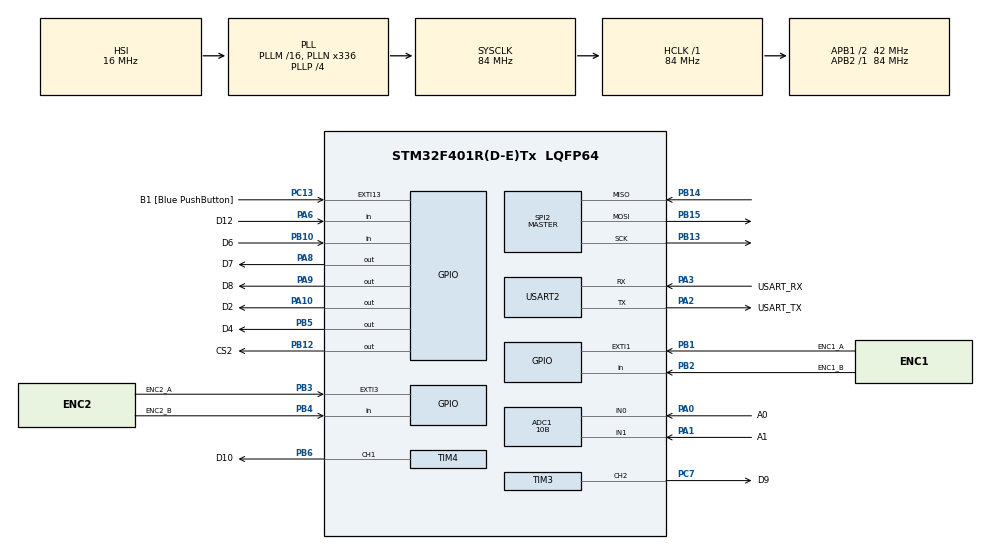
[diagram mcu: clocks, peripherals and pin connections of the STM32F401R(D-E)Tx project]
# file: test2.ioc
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Mcu.Family=STM32F4
PA2.GPIO_PuPd=GPIO_NOPULL
RCC.CortexFreq_Value=84000000
PB10.GPIO_PuPd=GPIO_PULLUP
SPI2.VirtualType=VM_MASTER
PA14.GPIO_Label=TCK
PA3.GPIO_PuPd=GPIO_NOPULL
PA2.GPIO_Speed=GPIO_SPEED_FREQ_LOW
NVIC.EXTI3_IRQn=true\:0\:0\:false\:false\:true\:true\:true
PA6.GPIO_Label=D12
PB6.GPIO_Label=D10
PB3.GPIO_ModeDefaultEXTI=GPIO_MODE_IT_RISING
PA3.GPIO_Speed=GPIO_SPEED_FREQ_LOW
PB13.Signal=SPI2_SCK
PB15.Signal=SPI2_MOSI
RCC.SYSCLKSource=RCC_SYSCLKSOURCE_PLLCLK
ProjectManager.StackSize=0x400
NVIC.EXTI1_IRQn=true\:0\:0\:false\:false\:true\:true\:true
PH0\ -\ OSC_IN.Signal=RCC_OSC_IN
RCC.HCLKFreq_Value=84000000
ADC1.Resolution=ADC_RESOLUTION_10B
RCC.APB2TimFreq_Value=84000000
TIM3.Period=4000
PB6.Signal=S_TIM4_CH1
PC7.Signal=S_TIM3_CH2
RCC.AHBFreq_Value=84000000
SPI2.BaudRatePrescaler=SPI_BAUDRATEPRESCALER_16
ADC1.Channel-0\#ChannelRegularConversion=ADC_CHANNEL_0
RCC.HSE_VALUE=8000000
PB2.Signal=GPIO_Input
PC13-ANTI_TAMP.Signal=GPXTI13
PB12.GPIO_Label=CS2
PA6.GPIO_PuPd=GPIO_PULLUP
PC14-OSC32_IN.Mode=LSE-External-Oscillator
PA14.Mode=Serial_Wire
PB14.Mode=Full_Duplex_Master
PB1.GPIO_Label=ENC1_A
PA10.GPIO_Label=D2
PA8.Signal=GPIO_Output
SH.ADCx_IN0.0=ADC1_IN0,IN0
TIM4.Period=4000
ADC1.SamplingTime-0\#ChannelRegularConversion=ADC_SAMPLETIME_3CYCLES
Mcu.Package=LQFP64
PB1.Signal=GPXTI1
PA6.Signal=GPIO_Input
SPI2.Mode=SPI_MODE_MASTER
USART2.VirtualMode=VM_ASYNC
PA2.GPIO_Label=USART_TX
PA10.Signal=GPIO_Output
SH.ADCx_IN1.0=ADC1_IN1,IN1
PB5.GPIO_Label=D4
SH.S_TIM4_CH1.0=TIM4_CH1,PWM Generation1 CH1
RCC.APB1TimFreq_Value=84000000
SPI2.Direction=SPI_DIRECTION_2LINES
PB13.Mode=Full_Duplex_Master
PB4.Signal=GPIO_Input
PA3.Signal=USART2_RX
PA2.GPIO_Mode=GPIO_MODE_AF_PP
PB3.GPIO_Label=ENC2_A
TIM4.Channel-PWM\ Generation1\ CH1=TIM_CHANNEL_1
PC15-OSC32_OUT.Mode=LSE-External-Oscillator
ADC1.Rank-0\#ChannelRegularConversion=1
PC13-ANTI_TAMP.GPIO_PuPd=GPIO_NOPULL
PC13-ANTI_TAMP.GPIO_Label=B1 [Blue PushButton]
PA9.GPIO_Label=D8
PH1\ -\ OSC_OUT.Mode=HSE-External-Clock-Source
RCC.APB1CLKDivider=RCC_HCLK_DIV2
PC14-OSC32_IN.Signal=RCC_OSC32_IN
NVIC.USART2_IRQn=true\:0\:0\:false\:false\:true\:true\:true
PA0-WKUP.GPIO_Label=A0
PA0-WKUP.Signal=ADCx_IN0
PA3.Mode=Asynchronous
PA13.Signal=SYS_JTMS-SWDIO
PH0\ -\ OSC_IN.Mode=HSE-External-Clock-Source
PA8.GPIO_Label=D7
ProjectManager.TargetToolchain=STM32CubeIDE
PB10.GPIO_Label=D6
PA3.GPIO_Mode=GPIO_MODE_AF_PP
PA9.Signal=GPIO_Output
PC15-OSC32_OUT.Signal=RCC_OSC32_OUT
PA1.Signal=ADCx_IN1
PB10.Signal=GPIO_Input
PB14.Signal=SPI2_MISO
PA5.Signal=SPI1_SCK
SH.S_TIM3_CH2.0=TIM3_CH2,PWM Generation2 CH2
PH1\ -\ OSC_OUT.Signal=RCC_OSC_OUT
board=NUCLEO-F401RE
PC7.GPIO_Speed=GPIO_SPEED_FREQ_VERY_HIGH
RCC.VCOOutputFreq_Value=336000000
PB15.Mode=Full_Duplex_Master
RCC.APB2Freq_Value=84000000
PB4.GPIO_Label=ENC2_B
PA1.GPIO_Label=A1
ADC1.NbrOfConversion=1
PA13.Mode=Serial_Wire
Mcu.Name=STM32F401R(D-E)Tx
PA2.Signal=USART2_TX
PA13.GPIO_Label=TMS
PC7.GPIO_Label=D9
RCC.48MHZClocksFreq_Value=48000000
PB3.Signal=GPXTI3
RCC.SYSCLKFreq_VALUE=84000000
PB5.Signal=GPIO_Output
ADC1.master=1
PC13-ANTI_TAMP.GPIO_ModeDefaultEXTI=GPIO_MODE_IT_FALLING
PA14.Signal=SYS_JTCK-SWCLK
PB2.GPIO_Label=ENC1_B
ProjectManager.HeapSize=0x200
RCC.HSI_VALUE=16000000
RCC.PLLP=RCC_PLLP_DIV4
RCC.PLLQ=7
NVIC.PriorityGroup=NVIC_PRIORITYGROUP_0
ADC1.NbrOfConversionFlag=1
TIM3.Channel-PWM\ Generation2\ CH2=TIM_CHANNEL_2
RCC.PLLN=336
PA2.Mode=Asynchronous
RCC.APB1Freq_Value=42000000
ADC1.ClockPrescaler=ADC_CLOCK_SYNC_PCLK_DIV6
PB12.Signal=GPIO_Output
PA3.GPIO_Label=USART_RX

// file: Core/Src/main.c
/* USER CODE BEGIN Header */
/**
 ******************************************************************************
 * @file           : main.c
 * @brief          : Main program body
 ******************************************************************************
 * @attention
 *
 * <h2><center>&copy; Copyright (c) 2021 STMicroelectronics.
 * All rights reserved.</center></h2>
 *
 * This software component is licensed by ST under BSD 3-Clause license,
 * the "License"; You may not use this file except in compliance with the
 * License. You may obtain a copy of the License at:
 *                        opensource.org/licenses/BSD-3-Clause
 *
 ******************************************************************************
 */
/* USER CODE END Header */
#include "main.h"

/* USER CODE BEGIN Includes */
#include "project.h"
/* USER CODE END Includes */

ADC_HandleTypeDef hadc1;

SPI_HandleTypeDef hspi2;

TIM_HandleTypeDef htim3;
TIM_HandleTypeDef htim4;

UART_HandleTypeDef huart2;

/* USER CODE BEGIN PV */
#ifdef __GNUC__
/* With GCC/RAISONANCE, small printf (option LD Linker->Libraries->Small printf
     set to 'Yes') calls __io_putchar() */
#define PUTCHAR_PROTOTYPE int __io_putchar(int ch)
#else
#define PUTCHAR_PROTOTYPE int fputc(int ch, FILE *f)
#endif /* __GNUC__ */
/**
 * @brief  Retargets the C library printf function to the USART.
 * @param  None
 * @retval None
 */
PUTCHAR_PROTOTYPE
{
	/* Place your implementation of fputc here */
	/* e.g. write a character to the EVAL_COM1 and Loop until the end of transmission */
	HAL_UART_Transmit(&huart2, (uint8_t *)&ch, 1, 0xFFFF);

	return ch;
}
/* USER CODE END PV */

void SystemClock_Config(void);
static void MX_GPIO_Init(void);
static void MX_USART2_UART_Init(void);
static void MX_SPI2_Init(void);
static void MX_ADC1_Init(void);
static void MX_TIM3_Init(void);
static void MX_TIM4_Init(void);
/* USER CODE BEGIN PFP */
#include "project.h"//this file contains user code
/* USER CODE END PFP */

int main(void)
{

  /* MCU Configuration--------------------------------------------------------*/

  /* Reset of all peripherals, Initializes the Flash interface and the Systick. */
  HAL_Init();

  /* Configure the system clock */
  SystemClock_Config();

  /* Initialize all configured peripherals */
  MX_GPIO_Init();
  MX_USART2_UART_Init();
  MX_SPI2_Init();
  MX_ADC1_Init();
  MX_TIM3_Init();
  MX_TIM4_Init();
  /* USER CODE BEGIN 2 */
	user_init();
	HAL_UART_Receive_IT(&huart2, uart2_rcv_buff, 2);
  /* USER CODE END 2 */

  /* Infinite loop */
  /* USER CODE BEGIN WHILE */
	//HAL_GPIO_WritePin(D2_GPIO_Port, D2_Pin, GPIO_PIN_SET);
	//HAL_GPIO_WritePin(D4_GPIO_Port, D4_Pin, GPIO_PIN_RESET);

	while (1)
	{
		user_while();
/*
		for (int i = 0; i <= 4000; i++)
		{
			//motor_shield.setM1Speed(i);
			set_pwm_m1(i);
			HAL_Delay(1);
		}
*/
    /* USER CODE END WHILE */

	}
}

void SystemClock_Config(void)
{
  RCC_OscInitTypeDef RCC_OscInitStruct = {0};
  RCC_ClkInitTypeDef RCC_ClkInitStruct = {0};

  /** Configure the main internal regulator output voltage
  */
  __HAL_RCC_PWR_CLK_ENABLE();
  __HAL_PWR_VOLTAGESCALING_CONFIG(PWR_REGULATOR_VOLTAGE_SCALE2);
  /** Initializes the RCC Oscillators according to the specified parameters
  * in the RCC_OscInitTypeDef structure.
  */
  RCC_OscInitStruct.OscillatorType = RCC_OSCILLATORTYPE_HSI;
  RCC_OscInitStruct.HSIState = RCC_HSI_ON;
  RCC_OscInitStruct.HSICalibrationValue = RCC_HSICALIBRATION_DEFAULT;
  RCC_OscInitStruct.PLL.PLLState = RCC_PLL_ON;
  RCC_OscInitStruct.PLL.PLLSource = RCC_PLLSOURCE_HSI;
  RCC_OscInitStruct.PLL.PLLM = 16;
  RCC_OscInitStruct.PLL.PLLN = 336;
  RCC_OscInitStruct.PLL.PLLP = RCC_PLLP_DIV4;
  RCC_OscInitStruct.PLL.PLLQ = 7;
  if (HAL_RCC_OscConfig(&RCC_OscInitStruct) != HAL_OK)
  {
    Error_Handler();
  }
  /** Initializes the CPU, AHB and APB buses clocks
  */
  RCC_ClkInitStruct.ClockType = RCC_CLOCKTYPE_HCLK|RCC_CLOCKTYPE_SYSCLK
                              |RCC_CLOCKTYPE_PCLK1|RCC_CLOCKTYPE_PCLK2;
  RCC_ClkInitStruct.SYSCLKSource = RCC_SYSCLKSOURCE_PLLCLK;
  RCC_ClkInitStruct.AHBCLKDivider = RCC_SYSCLK_DIV1;
  RCC_ClkInitStruct.APB1CLKDivider = RCC_HCLK_DIV2;
  RCC_ClkInitStruct.APB2CLKDivider = RCC_HCLK_DIV1;

  if (HAL_RCC_ClockConfig(&RCC_ClkInitStruct, FLASH_LATENCY_2) != HAL_OK)
  {
    Error_Handler();
  }
}

static void MX_ADC1_Init(void)
{

  ADC_ChannelConfTypeDef sConfig = {0};

  /** Configure the global features of the ADC (Clock, Resolution, Data Alignment and number of conversion)
  */
  hadc1.Instance = ADC1;
  hadc1.Init.ClockPrescaler = ADC_CLOCK_SYNC_PCLK_DIV6;
  hadc1.Init.Resolution = ADC_RESOLUTION_10B;
  hadc1.Init.ScanConvMode = DISABLE;
  hadc1.Init.ContinuousConvMode = DISABLE;
  hadc1.Init.DiscontinuousConvMode = DISABLE;
  hadc1.Init.ExternalTrigConvEdge = ADC_EXTERNALTRIGCONVEDGE_NONE;
  hadc1.Init.ExternalTrigConv = ADC_SOFTWARE_START;
  hadc1.Init.DataAlign = ADC_DATAALIGN_RIGHT;
  hadc1.Init.NbrOfConversion = 1;
  hadc1.Init.DMAContinuousRequests = DISABLE;
  hadc1.Init.EOCSelection = ADC_EOC_SINGLE_CONV;
  if (HAL_ADC_Init(&hadc1) != HAL_OK)
  {
    Error_Handler();
  }
  /** Configure for the selected ADC regular channel its corresponding rank in the sequencer and its sample time.
  */
  sConfig.Channel = ADC_CHANNEL_0;
  sConfig.Rank = 1;
  sConfig.SamplingTime = ADC_SAMPLETIME_3CYCLES;
  if (HAL_ADC_ConfigChannel(&hadc1, &sConfig) != HAL_OK)
  {
    Error_Handler();
  }

}

static void MX_SPI2_Init(void)
{

  /* SPI2 parameter configuration*/
  hspi2.Instance = SPI2;
  hspi2.Init.Mode = SPI_MODE_MASTER;
  hspi2.Init.Direction = SPI_DIRECTION_2LINES;
  hspi2.Init.DataSize = SPI_DATASIZE_8BIT;
  hspi2.Init.CLKPolarity = SPI_POLARITY_LOW;
  hspi2.Init.CLKPhase = SPI_PHASE_1EDGE;
  hspi2.Init.NSS = SPI_NSS_SOFT;
  hspi2.Init.BaudRatePrescaler = SPI_BAUDRATEPRESCALER_16;
  hspi2.Init.FirstBit = SPI_FIRSTBIT_MSB;
  hspi2.Init.TIMode = SPI_TIMODE_DISABLE;
  hspi2.Init.CRCCalculation = SPI_CRCCALCULATION_DISABLE;
  hspi2.Init.CRCPolynomial = 10;
  if (HAL_SPI_Init(&hspi2) != HAL_OK)
  {
    Error_Handler();
  }

}

static void MX_TIM3_Init(void)
{

  TIM_MasterConfigTypeDef sMasterConfig = {0};
  TIM_OC_InitTypeDef sConfigOC = {0};

  htim3.Instance = TIM3;
  htim3.Init.Prescaler = 0;
  htim3.Init.CounterMode = TIM_COUNTERMODE_UP;
  htim3.Init.Period = 4000;
  htim3.Init.ClockDivision = TIM_CLOCKDIVISION_DIV1;
  htim3.Init.AutoReloadPreload = TIM_AUTORELOAD_PRELOAD_DISABLE;
  if (HAL_TIM_PWM_Init(&htim3) != HAL_OK)
  {
    Error_Handler();
  }
  sMasterConfig.MasterOutputTrigger = TIM_TRGO_RESET;
  sMasterConfig.MasterSlaveMode = TIM_MASTERSLAVEMODE_DISABLE;
  if (HAL_TIMEx_MasterConfigSynchronization(&htim3, &sMasterConfig) != HAL_OK)
  {
    Error_Handler();
  }
  sConfigOC.OCMode = TIM_OCMODE_PWM1;
  sConfigOC.Pulse = 0;
  sConfigOC.OCPolarity = TIM_OCPOLARITY_HIGH;
  sConfigOC.OCFastMode = TIM_OCFAST_DISABLE;
  if (HAL_TIM_PWM_ConfigChannel(&htim3, &sConfigOC, TIM_CHANNEL_2) != HAL_OK)
  {
    Error_Handler();
  }
  HAL_TIM_MspPostInit(&htim3);

}

static void MX_TIM4_Init(void)
{

  TIM_MasterConfigTypeDef sMasterConfig = {0};
  TIM_OC_InitTypeDef sConfigOC = {0};

  htim4.Instance = TIM4;
  htim4.Init.Prescaler = 0;
  htim4.Init.CounterMode = TIM_COUNTERMODE_UP;
  htim4.Init.Period = 4000;
  htim4.Init.ClockDivision = TIM_CLOCKDIVISION_DIV1;
  htim4.Init.AutoReloadPreload = TIM_AUTORELOAD_PRELOAD_DISABLE;
  if (HAL_TIM_PWM_Init(&htim4) != HAL_OK)
  {
    Error_Handler();
  }
  sMasterConfig.MasterOutputTrigger = TIM_TRGO_RESET;
  sMasterConfig.MasterSlaveMode = TIM_MASTERSLAVEMODE_DISABLE;
  if (HAL_TIMEx_MasterConfigSynchronization(&htim4, &sMasterConfig) != HAL_OK)
  {
    Error_Handler();
  }
  sConfigOC.OCMode = TIM_OCMODE_PWM1;
  sConfigOC.Pulse = 0;
  sConfigOC.OCPolarity = TIM_OCPOLARITY_HIGH;
  sConfigOC.OCFastMode = TIM_OCFAST_DISABLE;
  if (HAL_TIM_PWM_ConfigChannel(&htim4, &sConfigOC, TIM_CHANNEL_1) != HAL_OK)
  {
    Error_Handler();
  }
  HAL_TIM_MspPostInit(&htim4);

}

static void MX_USART2_UART_Init(void)
{

  huart2.Instance = USART2;
  huart2.Init.BaudRate = 115200;
  huart2.Init.WordLength = UART_WORDLENGTH_8B;
  huart2.Init.StopBits = UART_STOPBITS_1;
  huart2.Init.Parity = UART_PARITY_NONE;
  huart2.Init.Mode = UART_MODE_TX_RX;
  huart2.Init.HwFlowCtl = UART_HWCONTROL_NONE;
  huart2.Init.OverSampling = UART_OVERSAMPLING_16;
  if (HAL_UART_Init(&huart2) != HAL_OK)
  {
    Error_Handler();
  }
  /* USER CODE BEGIN USART2_Init 2 */
__HAL_UART
  /* USER CODE END USART2_Init 2 */

}

static void MX_GPIO_Init(void)
{
  GPIO_InitTypeDef GPIO_InitStruct = {0};

  /* GPIO Ports Clock Enable */
  __HAL_RCC_GPIOC_CLK_ENABLE();
  __HAL_RCC_GPIOH_CLK_ENABLE();
  __HAL_RCC_GPIOA_CLK_ENABLE();
  __HAL_RCC_GPIOB_CLK_ENABLE();

  /*Configure GPIO pin Output Level */
  HAL_GPIO_WritePin(GPIOB, CS2_Pin|D4_Pin, GPIO_PIN_RESET);

  /*Configure GPIO pin Output Level */
  HAL_GPIO_WritePin(GPIOA, D7_Pin|D8_Pin|D2_Pin, GPIO_PIN_RESET);

  /*Configure GPIO pin : B1_Pin */
  GPIO_InitStruct.Pin = B1_Pin;
  GPIO_InitStruct.Mode = GPIO_MODE_IT_FALLING;
  GPIO_InitStruct.Pull = GPIO_NOPULL;
  HAL_GPIO_Init(B1_GPIO_Port, &GPIO_InitStruct);

  /*Configure GPIO pin : PA5 */
  GPIO_InitStruct.Pin = GPIO_PIN_5;
  GPIO_InitStruct.Mode = GPIO_MODE_AF_PP;
  GPIO_InitStruct.Pull = GPIO_NOPULL;
  GPIO_InitStruct.Speed = GPIO_SPEED_FREQ_VERY_HIGH;
  GPIO_InitStruct.Alternate = GPIO_AF5_SPI1;
  HAL_GPIO_Init(GPIOA, &GPIO_InitStruct);

  /*Configure GPIO pin : D12_Pin */
  GPIO_InitStruct.Pin = D12_Pin;
  GPIO_InitStruct.Mode = GPIO_MODE_INPUT;
  GPIO_InitStruct.Pull = GPIO_PULLUP;
  HAL_GPIO_Init(D12_GPIO_Port, &GPIO_InitStruct);

  /*Configure GPIO pins : ENC1_A_Pin ENC2_A_Pin */
  GPIO_InitStruct.Pin = ENC1_A_Pin|ENC2_A_Pin;
  GPIO_InitStruct.Mode = GPIO_MODE_IT_RISING;
  GPIO_InitStruct.Pull = GPIO_NOPULL;
  HAL_GPIO_Init(GPIOB, &GPIO_InitStruct);

  /*Configure GPIO pins : ENC1_B_Pin ENC2_B_Pin */
  GPIO_InitStruct.Pin = ENC1_B_Pin|ENC2_B_Pin;
  GPIO_InitStruct.Mode = GPIO_MODE_INPUT;
  GPIO_InitStruct.Pull = GPIO_NOPULL;
  HAL_GPIO_Init(GPIOB, &GPIO_InitStruct);

  /*Configure GPIO pin : D6_Pin */
  GPIO_InitStruct.Pin = D6_Pin;
  GPIO_InitStruct.Mode = GPIO_MODE_INPUT;
  GPIO_InitStruct.Pull = GPIO_PULLUP;
  HAL_GPIO_Init(D6_GPIO_Port, &GPIO_InitStruct);

  /*Configure GPIO pins : CS2_Pin D4_Pin */
  GPIO_InitStruct.Pin = CS2_Pin|D4_Pin;
  GPIO_InitStruct.Mode = GPIO_MODE_OUTPUT_PP;
  GPIO_InitStruct.Pull = GPIO_NOPULL;
  GPIO_InitStruct.Speed = GPIO_SPEED_FREQ_LOW;
  HAL_GPIO_Init(GPIOB, &GPIO_InitStruct);

  /*Configure GPIO pins : D7_Pin D8_Pin D2_Pin */
  GPIO_InitStruct.Pin = D7_Pin|D8_Pin|D2_Pin;
  GPIO_InitStruct.Mode = GPIO_MODE_OUTPUT_PP;
  GPIO_InitStruct.Pull = GPIO_NOPULL;
  GPIO_InitStruct.Speed = GPIO_SPEED_FREQ_LOW;
  HAL_GPIO_Init(GPIOA, &GPIO_InitStruct);

  /* EXTI interrupt init*/
  HAL_NVIC_SetPriority(EXTI1_IRQn, 0, 0);
  HAL_NVIC_EnableIRQ(EXTI1_IRQn);

  HAL_NVIC_SetPriority(EXTI3_IRQn, 0, 0);
  HAL_NVIC_EnableIRQ(EXTI3_IRQn);

}

/* USER CODE BEGIN 4 */
ADC_HandleTypeDef get_adc(){
	return hadc1;
}

void set_pwm_m1(uint16_t value)
{
	TIM_OC_InitTypeDef sConfigOC;
	sConfigOC.OCMode = TIM_OCMODE_PWM1;
	sConfigOC.Pulse = value;
	sConfigOC.OCPolarity = TIM_OCPOLARITY_HIGH;
	sConfigOC.OCFastMode = TIM_OCFAST_DISABLE;
	HAL_TIM_PWM_Stop(&htim3, TIM_CHANNEL_2);
	HAL_TIM_PWM_ConfigChannel(&htim3, &sConfigOC, TIM_CHANNEL_2);
	HAL_TIM_PWM_Start(&htim3, TIM_CHANNEL_2);
}

void set_pwm_m2(uint16_t value)
{
	TIM_OC_InitTypeDef sConfigOC;
	sConfigOC.OCMode = TIM_OCMODE_PWM1;
	sConfigOC.Pulse = value;
	sConfigOC.OCPolarity = TIM_OCPOLARITY_HIGH;
	sConfigOC.OCFastMode = TIM_OCFAST_DISABLE;
	HAL_TIM_PWM_Stop(&htim4, TIM_CHANNEL_1);
	HAL_TIM_PWM_ConfigChannel(&htim4, &sConfigOC, TIM_CHANNEL_1);
	HAL_TIM_PWM_Start(&htim4, TIM_CHANNEL_1);
}
/*
void HAL_UART_RxCpltCallback(UART_HandleTypeDef *huart)
{
    HAL_UART_Transmit(&huart2, UART1_rxBuffer, 12, 100);
   // HAL_UART_Receive_IT(&huart2, UART1_rxBuffer, 12);
}
*/
/* USER CODE END 4 */

void Error_Handler(void)
{
	__disable_irq();
	while (1)
	{
	}
}

/************************ (C) COPYRIGHT STMicroelectronics *****END OF FILE****/
